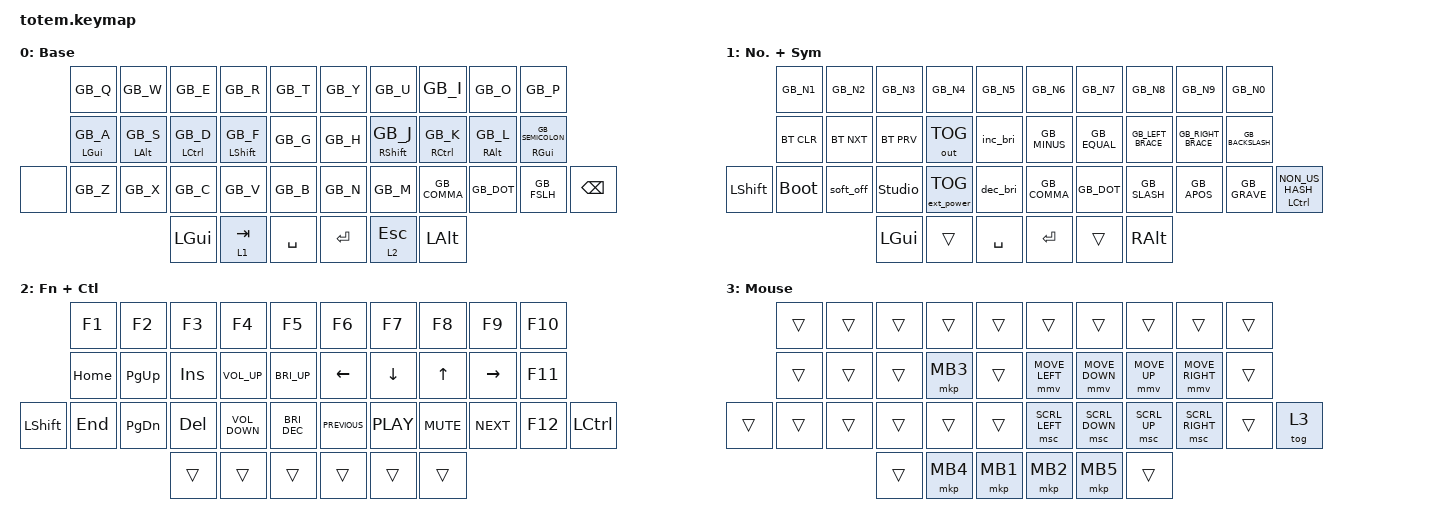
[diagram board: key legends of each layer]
//
//                                                        ▀▀▀▀▀     ▀▀▀▀▀          ▀▀█▀▀
//                                                        ▄▀▀▀▄  ▄  ▄▀▀▀▄  ▄  ▄▀▀▀▄  █  ▄▀▀▀▄
//                                                        █   █  █  █   █  █  █   █  █  █   █
//                                                         ▀▀▀   █   ▀▀▀   █   ▀▀▀   ▀   ▀▀▀
//                                                               █      ▄▄▄█▄▄▄    █   █  
//                                                               ▀      █  █  █     █▄█
//                                                             ▀▀▀▀▀    █  █  █      ▀
//                                                                      ▀  ▀  ▀
//
// ▄▄▄▄▄▄▄▄▄▄▄▄▄▄▄▄▄▄▄▄▄▄▄▄▄▄▄▄▄▄▄▄▄▄▄▄▄▄▄▄▄▄▄▄▄▄▄▄▄▄▄▄▄▄▄▄▄▄▄▄▄▄▄▄▄▄▄▄▄▄▄▄▄▄▄▄▄▄▄▄▄▄▄▄▄▄▄▄▄▄▄▄▄▄▄▄▄▄▄▄▄▄▄▄▄▄▄▄▄▄▄▄▄▄▄▄▄▄▄▄▄▄▄▄▄▄▄▄▄▄▄▄▄▄▄▄▄▄▄▄▄▄▄▄▄▄▄▄▄

#include <locale/keys_en_gb.h>
#include <locale/keys_en_gb_extended.h>
#include <behaviors/brightness.dtsi>
#include <behaviors.dtsi>
#include <dt-bindings/zmk/bt.h>
#include <dt-bindings/zmk/ext_power.h>
#include <dt-bindings/zmk/keys.h>
#include <dt-bindings/zmk/outputs.h>
#include <dt-bindings/zmk/pointing.h>

#define BASE 0
#define NAV  1
#define SYM  2
#define ADJ  3
#define TVP1 4
#define TVP2 5

&mt {
    quick-tap-ms = <100>;
    global-quick-tap;
    flavor = "tap-preferred";
    tapping-term-ms = <170>;
};

/ {
    combos {
        compatible = "zmk,combos";

        combo_esc {
            timeout-ms = <50>;
            key-positions = <0 1>;
            bindings = <&kp ESC>;
        };

        Semi {
            bindings = <&kp GB_SEMI>;
            key-positions = <28 29>;
            layers = <0>;
        };

        Caps {
            bindings = <&kp CAPS>;
            key-positions = <20 31>;
            layers = <0>;
        };

        parentheses_left {
            bindings = <&kp GB_LEFT_PARENTHESIS>;
            key-positions = <13 12>;
            layers = <0>;
        };

        parentheses_right {
            bindings = <&kp GB_RIGHT_PARENTHESIS>;
            key-positions = <16 17>;
            layers = <0>;
        };

        bracket_left {
            bindings = <&kp GB_LEFT_BRACKET>;
            key-positions = <2 3>;
            layers = <0>;
        };

        bracket_right {
            bindings = <&kp GB_RIGHT_BRACKET>;
            key-positions = <7 6>;
            layers = <0>;
        };

        Colon {
            bindings = <&kp GB_COLON>;
            key-positions = <17 18>;
            layers = <0>;
        };

        grave {
            bindings = <&kp GB_GRAVE>;
            key-positions = <12 11>;
            layers = <0>;
        };

        brace_left {
            bindings = <&kp GB_LEFT_BRACE>;
            key-positions = <24 23>;
            layers = <0>;
        };

        brace_right {
            bindings = <&kp GB_RIGHT_BRACE>;
            key-positions = <27 28>;
            layers = <0>;
        };

        less_than {
            bindings = <&kp GB_LESS_THAN>;
            key-positions = <2 1>;
            layers = <0>;
        };

        more_than {
            bindings = <&kp GB_GREATER_THAN>;
            key-positions = <8 7>;
            layers = <0>;
        };

        hyphen {
            bindings = <&kp GB_MINUS>;
            key-positions = <24 27>;
            layers = <0>;
        };

        plus {
            bindings = <&kp GB_PLUS>;
            key-positions = <3 6>;
            layers = <0>;
        };

        equal {
            bindings = <&kp GB_EQUAL>;
            key-positions = <13 16>;
            layers = <0>;
        };

        pipe {
            bindings = <&kp GB_PIPE>;
            key-positions = <23 22>;
            layers = <0>;
        };

        asterisk {
            bindings = <&kp GB_ASTERISK>;
            key-positions = <2 7>;
            layers = <0>;
        };

        dollar {
            bindings = <&kp GB_DOLLAR>;
            key-positions = <12 17>;
            layers = <0>;
        };

        excel {
            bindings = <&kp GB_EXCL>;
            key-positions = <23 28>;
            layers = <0>;
        };

        ampersand {
            bindings = <&kp GB_AMPERSAND>;
            key-positions = <14 15>;
            layers = <0>;
        };

        underscore {
            bindings = <&kp GB_UNDERSCORE>;
            key-positions = <25 26>;
            layers = <0>;
        };

        backslash {
            bindings = <&kp GB_BACKSLASH>;
            key-positions = <18 19>;
            layers = <0>;
        };

        tilde {
            bindings = <&kp LS(NON_US_HASH)>;
            key-positions = <11 10>;
            layers = <0>;
        };
    };

    keymap {
        compatible = "zmk,keymap";

        // ▄▄▄▄▄▄▄▄▄▄▄▄▄▄▄▄▄▄▄▄▄▄▄▄▄▄▄▄▄▄▄▄▄▄▄▄▄▄▄▄▄▄▄▄▄▄▄▄▄▄▄▄▄▄▄▄▄▄▄▄▄▄▄▄▄▄▄▄▄▄▄▄▄▄▄▄▄▄▄▄▄▄▄▄▄▄▄▄▄▄▄▄▄▄▄▄▄▄▄▄▄▄▄▄▄▄▄▄▄▄▄▄▄▄▄▄▄▄▄▄▄▄▄▄▄▄▄▄▄▄▄▄▄▄▄▄▄▄▄▄▄▄▄▄▄▄▄▄▄

        base_layer {
            // ┏━━━━━━━━━━━━━━━━━━━━━━━━━━━━━━━━━━━━━━━┓

            label = "Base";

            // ┗━━━━━━━━━━━━━━━━━━━━━━━━━━━━━━━━━━━━━━━┛
            //             ┏━━━━━━━━━━━┳━━━━━━━━━━━┳━━━━━━━━━━━┳━━━━━━━━━━━┳━━━━━━━━━━━┓   ┏━━━━━━━━━━━┳━━━━━━━━━━━┳━━━━━━━━━━━┳━━━━━━━━━━━┳━━━━━━━━━━━┓
            //             ┃     Q     ┃     W     ┃     F     ┃     P     ┃     G     ┃   ┃     J     ┃     L     ┃     U     ┃     Y     ┃     ;     ┃
            //             ┣━━━━━━━━━━━╋━━━━━━━━━━━╋━━━━━━━━━━━╋━━━━━━━━━━━╋━━━━━━━━━━━┫   ┣━━━━━━━━━━━╋━━━━━━━━━━━╋━━━━━━━━━━━╋━━━━━━━━━━━╋━━━━━━━━━━━┫
            //             ┃     A     ┃     R     ┃     S     ┃     T     ┃     D     ┃   ┃     H     ┃     N     ┃     E     ┃     I     ┃     O     ┃
            // ┏━━━━━━━━━━━╋━━━━━━━━━━━╋━━━━━━━━━━━╋━━━━━━━━━━━╋━━━━━━━━━━━╋━━━━━━━━━━━┫   ┣━━━━━━━━━━━╋━━━━━━━━━━━╋━━━━━━━━━━━╋━━━━━━━━━━━╋━━━━━━━━━━━╋━━━━━━━━━━━┓
            // ┃     Q     ┃     Z     ┃     X     ┃     C     ┃     V     ┃     B     ┃   ┃     K     ┃     M     ┃     ,     ┃     .     ┃     /     ┃     \     ┃
            // ┗━━━━━━━━━━━┻━━━━━━━━━━━┻━━━━━━━━━━━╋━━━━━━━━━━━╋━━━━━━━━━━━╋━━━━━━━━━━━┫   ┣━━━━━━━━━━━╋━━━━━━━━━━━╋━━━━━━━━━━━╋━━━━━━━━━━━┻━━━━━━━━━━━┻━━━━━━━━━━━┛
            //                                     ┃    DEL    ┃    TAB    ┃    SPC    ┃   ┃   ENTER   ┃           ┃   BSPC    ┃
            //                                     ┗━━━━━━━━━━━┻━━━━━━━━━━━┻━━━━━━━━━━━┛   ┗━━━━━━━━━━━┻━━━━━━━━━━━┻━━━━━━━━━━━┛

            bindings = <
       &kp GB_Q       &kp GB_W       &kp GB_E        &kp GB_R        &kp GB_T     &kp GB_Y  &kp GB_U        &kp GB_I        &kp GB_O       &kp GB_P
       &mt LGUI GB_A  &mt LALT GB_S  &mt LCTRL GB_D  &mt LSHFT GB_F  &kp GB_G     &kp GB_H  &mt RSHFT GB_J  &mt RCTRL GB_K  &mt RALT GB_L  &mt RGUI GB_SEMICOLON
&none  &kp GB_Z       &kp GB_X       &kp GB_C        &kp GB_V        &kp GB_B     &kp GB_N  &kp GB_M        &kp GB_COMMA    &kp GB_DOT     &kp GB_FSLH            &kp BACKSPACE
                                     &kp LEFT_GUI    &lt 1 TAB       &kp SPACE    &kp RET   &lt 2 ESC       &kp LEFT_ALT
            >;
        };

        // ▄▄▄▄▄▄▄▄▄▄▄▄▄▄▄▄▄▄▄▄▄▄▄▄▄▄▄▄▄▄▄▄▄▄▄▄▄▄▄▄▄▄▄▄▄▄▄▄▄▄▄▄▄▄▄▄▄▄▄▄▄▄▄▄▄▄▄▄▄▄▄▄▄▄▄▄▄▄▄▄▄▄▄▄▄▄▄▄▄▄▄▄▄▄▄▄▄▄▄▄▄▄▄▄▄▄▄▄▄▄▄▄▄▄▄▄▄▄▄▄▄▄▄▄▄▄▄▄▄▄▄▄▄▄▄▄▄▄▄▄▄▄▄▄▄▄▄▄▄

        Num_Sym {
            // ┏━━━━━━━━━━━━━━━━━━━━━━━━━━━━━━━━━━━━━━━┓

            label = "No. + Sym";

            // ┗━━━━━━━━━━━━━━━━━━━━━━━━━━━━━━━━━━━━━━━┛
            //             ┏━━━━━━━━━━━┳━━━━━━━━━━━┳━━━━━━━━━━━┳━━━━━━━━━━━┳━━━━━━━━━━━┓   ┏━━━━━━━━━━━┳━━━━━━━━━━━┳━━━━━━━━━━━┳━━━━━━━━━━━┳━━━━━━━━━━━┓
            //             ┃           ┃           ┃     UP    ┃           ┃     {     ┃   ┃     }     ┃     7     ┃     8     ┃     9     ┃     +     ┃
            //             ┣━━━━━━━━━━━╋━━━━━━━━━━━╋━━━━━━━━━━━╋━━━━━━━━━━━╋━━━━━━━━━━━┫   ┣━━━━━━━━━━━╋━━━━━━━━━━━╋━━━━━━━━━━━╋━━━━━━━━━━━╋━━━━━━━━━━━┫
            //             ┃   SHIFT   ┃   LEFT    ┃    DOWN   ┃   RIGHT   ┃     [     ┃   ┃     ]     ┃     4     ┃     5     ┃     6     ┃     -     ┃
            // ┏━━━━━━━━━━━╋━━━━━━━━━━━╋━━━━━━━━━━━╋━━━━━━━━━━━╋━━━━━━━━━━━╋━━━━━━━━━━━┫   ┣━━━━━━━━━━━╋━━━━━━━━━━━╋━━━━━━━━━━━╋━━━━━━━━━━━╋━━━━━━━━━━━╋━━━━━━━━━━━┓
            // ┃           ┃           ┃   P UP    ┃  C LOCK   ┃  P DOWN   ┃     (     ┃   ┃     )     ┃     1     ┃     2     ┃     3     ┃     *     ┃           ┃
            // ┗━━━━━━━━━━━┻━━━━━━━━━━━┻━━━━━━━━━━━╋━━━━━━━━━━━╋━━━━━━━━━━━╋━━━━━━━━━━━┫   ┣━━━━━━━━━━━╋━━━━━━━━━━━╋━━━━━━━━━━━╋━━━━━━━━━━━┻━━━━━━━━━━━┻━━━━━━━━━━━┛
            //                                     ┃           ┃    TAB    ┃    SPC    ┃   ┃    DEL    ┃     0     ┃           ┃
            //                                     ┗━━━━━━━━━━━┻━━━━━━━━━━━┻━━━━━━━━━━━┛   ┗━━━━━━━━━━━┻━━━━━━━━━━━┻━━━━━━━━━━━┛

            bindings = <
        &kp GB_N1    &kp GB_N2   &kp GB_N3       &kp GB_N4          &kp GB_N5    &kp GB_N6     &kp GB_N7     &kp GB_N8          &kp GB_N9           &kp GB_N0
        &bt BT_CLR   &bt BT_NXT &bt BT_PRV      &out OUT_TOG       &inc_bri     &kp GB_MINUS  &kp GB_EQUAL  &kp GB_LEFT_BRACE  &kp GB_RIGHT_BRACE  &kp GB_BACKSLASH
&kp LSHIFT  &bootloader  &soft_off   &studio_unlock  &ext_power EP_TOG  &dec_bri     &kp GB_COMMA  &kp GB_DOT    &kp GB_SLASH       &kp GB_APOS         &kp GB_GRAVE      &mt LCTRL NON_US_HASH
                                 &kp LGUI        &trans             &kp SPACE    &kp RET       &trans        &kp RALT
            >;
        };

        // ▄▄▄▄▄▄▄▄▄▄▄▄▄▄▄▄▄▄▄▄▄▄▄▄▄▄▄▄▄▄▄▄▄▄▄▄▄▄▄▄▄▄▄▄▄▄▄▄▄▄▄▄▄▄▄▄▄▄▄▄▄▄▄▄▄▄▄▄▄▄▄▄▄▄▄▄▄▄▄▄▄▄▄▄▄▄▄▄▄▄▄▄▄▄▄▄▄▄▄▄▄▄▄▄▄▄▄▄▄▄▄▄▄▄▄▄▄▄▄▄▄▄▄▄▄▄▄▄▄▄▄▄▄▄▄▄▄▄▄▄▄▄▄▄▄▄▄▄▄

        Fn {
            // ┏━━━━━━━━━━━━━━━━━━━━━━━━━━━━━━━━━━━━━━━┓

            label = "Fn + Ctl";

            // ┗━━━━━━━━━━━━━━━━━━━━━━━━━━━━━━━━━━━━━━━┛
            //             ┏━━━━━━━━━━━┳━━━━━━━━━━━┳━━━━━━━━━━━┳━━━━━━━━━━━┳━━━━━━━━━━━┓   ┏━━━━━━━━━━━┳━━━━━━━━━━━┳━━━━━━━━━━━┳━━━━━━━━━━━┳━━━━━━━━━━━┓
            //             ┃     !     ┃     @     ┃     #     ┃     $     ┃     %     ┃   ┃     ˆ     ┃     &     ┃     Ü     ┃     '     ┃     "     ┃
            //             ┣━━━━━━━━━━━╋━━━━━━━━━━━╋━━━━━━━━━━━╋━━━━━━━━━━━╋━━━━━━━━━━━┫   ┣━━━━━━━━━━━╋━━━━━━━━━━━╋━━━━━━━━━━━╋━━━━━━━━━━━╋━━━━━━━━━━━┫
            //             ┃     Ä     ┃           ┃    SZ     ┃           ┃           ┃   ┃   MUTE    ┃   YEN     ┃   EURO    ┃  POUND    ┃     Ö     ┃
            // ┏━━━━━━━━━━━╋━━━━━━━━━━━╋━━━━━━━━━━━╋━━━━━━━━━━━╋━━━━━━━━━━━╋━━━━━━━━━━━┫   ┣━━━━━━━━━━━╋━━━━━━━━━━━╋━━━━━━━━━━━╋━━━━━━━━━━━╋━━━━━━━━━━━╋━━━━━━━━━━━┓
            // ┃           ┃  EMAIL1   ┃  EMAIL2   ┃           ┃           ┃           ┃   ┃   VOL-    ┃   VOL+    ┃   LAST    ┃   NEXT    ┃     \     ┃           ┃
            // ┗━━━━━━━━━━━┻━━━━━━━━━━━┻━━━━━━━━━━━╋━━━━━━━━━━━╋━━━━━━━━━━━╋━━━━━━━━━━━┫   ┣━━━━━━━━━━━╋━━━━━━━━━━━╋━━━━━━━━━━━╋━━━━━━━━━━━┻━━━━━━━━━━━┻━━━━━━━━━━━┛
            //                                     ┃           ┃    GIF    ┃    ADJ    ┃   ┃           ┃           ┃           ┃
            //                                     ┗━━━━━━━━━━━┻━━━━━━━━━━━┻━━━━━━━━━━━┛   ┗━━━━━━━━━━━┻━━━━━━━━━━━┻━━━━━━━━━━━┛

            bindings = <
            &kp F1    &kp F2         &kp F3   &kp F4             &kp F5           &kp F6          &kp F7      &kp F8      &kp F9      &kp F10
            &kp HOME  &kp PAGE_UP    &kp INS  &kp C_VOLUME_UP    &kp C_BRI_UP     &kp LEFT        &kp DOWN    &kp UP      &kp RIGHT   &kp F11
&kp LSHIFT  &kp END   &kp PAGE_DOWN  &kp DEL  &kp C_VOLUME_DOWN  &kp C_BRI_DEC    &kp C_PREVIOUS  &kp C_PLAY  &kp C_MUTE  &kp C_NEXT  &kp F12  &kp LCTRL
                                     &trans   &trans             &trans           &trans          &trans      &trans
            >;
        };

        // ▄▄▄▄▄▄▄▄▄▄▄▄▄▄▄▄▄▄▄▄▄▄▄▄▄▄▄▄▄▄▄▄▄▄▄▄▄▄▄▄▄▄▄▄▄▄▄▄▄▄▄▄▄▄▄▄▄▄▄▄▄▄▄▄▄▄▄▄▄▄▄▄▄▄▄▄▄▄▄▄▄▄▄▄▄▄▄▄▄▄▄▄▄▄▄▄▄▄▄▄▄▄▄▄▄▄▄▄▄▄▄▄▄▄▄▄▄▄▄▄▄▄▄▄▄▄▄▄▄▄▄▄▄▄▄▄▄▄▄▄▄▄▄▄▄▄▄▄▄

        MouseNav {
            // ┏━━━━━━━━━━━━━━━━━━━━━━━━━━━━━━━━━━━━━━━┓

            label = "Mouse";

            // ┗━━━━━━━━━━━━━━━━━━━━━━━━━━━━━━━━━━━━━━━┛
            //             ┏━━━━━━━━━━━┳━━━━━━━━━━━┳━━━━━━━━━━━┳━━━━━━━━━━━┳━━━━━━━━━━━┓   ┏━━━━━━━━━━━┳━━━━━━━━━━━┳━━━━━━━━━━━┳━━━━━━━━━━━┳━━━━━━━━━━━┓
            //             ┃   RESET   ┃ BT CLEAR  ┃  OUT TOG  ┃           ┃           ┃   ┃           ┃    F7     ┃    F8     ┃    F9     ┃    F12    ┃
            //             ┣━━━━━━━━━━━╋━━━━━━━━━━━╋━━━━━━━━━━━╋━━━━━━━━━━━╋━━━━━━━━━━━┫   ┣━━━━━━━━━━━╋━━━━━━━━━━━╋━━━━━━━━━━━╋━━━━━━━━━━━╋━━━━━━━━━━━┫
            //             ┃ BOOTLOAD  ┃ BT NEXT   ┃           ┃           ┃           ┃   ┃           ┃    F4     ┃    F5     ┃    F6     ┃    F11    ┃
            // ┏━━━━━━━━━━━╋━━━━━━━━━━━╋━━━━━━━━━━━╋━━━━━━━━━━━╋━━━━━━━━━━━╋━━━━━━━━━━━┫   ┣━━━━━━━━━━━╋━━━━━━━━━━━╋━━━━━━━━━━━╋━━━━━━━━━━━╋━━━━━━━━━━━╋━━━━━━━━━━━┓
            // ┃           ┃           ┃ BT PREV   ┃           ┃           ┃           ┃   ┃           ┃    F1     ┃    F2     ┃    F3     ┃    F10    ┃           ┃
            // ┗━━━━━━━━━━━┻━━━━━━━━━━━┻━━━━━━━━━━━╋━━━━━━━━━━━╋━━━━━━━━━━━╋━━━━━━━━━━━┫   ┣━━━━━━━━━━━╋━━━━━━━━━━━╋━━━━━━━━━━━╋━━━━━━━━━━━┻━━━━━━━━━━━┻━━━━━━━━━━━┛
            //                                     ┃           ┃           ┃           ┃   ┃           ┃           ┃           ┃
            //                                     ┗━━━━━━━━━━━┻━━━━━━━━━━━┻━━━━━━━━━━━┛   ┗━━━━━━━━━━━┻━━━━━━━━━━━┻━━━━━━━━━━━┛

            bindings = <
        &trans  &trans  &trans  &trans    &trans      &trans          &trans          &trans        &trans           &trans
        &trans  &trans  &trans  &mkp MB3  &trans      &mmv MOVE_LEFT  &mmv MOVE_DOWN  &mmv MOVE_UP  &mmv MOVE_RIGHT  &trans
&trans  &trans  &trans  &trans  &trans    &trans      &msc SCRL_LEFT  &msc SCRL_DOWN  &msc SCRL_UP  &msc SCRL_RIGHT  &trans  &tog 3
                        &trans  &mkp MB4  &mkp MB1    &mkp MB2        &mkp MB5        &trans
            >;
        };

        // ▄▄▄▄▄▄▄▄▄▄▄▄▄▄▄▄▄▄▄▄▄▄▄▄▄▄▄▄▄▄▄▄▄▄▄▄▄▄▄▄▄▄▄▄▄▄▄▄▄▄▄▄▄▄▄▄▄▄▄▄▄▄▄▄▄▄▄▄▄▄▄▄▄▄▄▄▄▄▄▄▄▄▄▄▄▄▄▄▄▄▄▄▄▄▄▄▄▄▄▄▄▄▄▄▄▄▄▄▄▄▄▄▄▄▄▄▄▄▄▄▄▄▄▄▄▄▄▄▄▄▄▄▄▄▄▄▄▄▄▄▄▄▄▄▄▄▄▄▄
        // ▄▄▄▄▄▄▄▄▄▄▄▄▄▄▄▄▄▄▄▄▄▄▄▄▄▄▄▄▄▄▄▄▄▄▄▄▄▄▄▄▄▄▄▄▄▄▄▄▄▄▄▄▄▄▄▄▄▄▄▄▄▄▄▄▄▄▄▄▄▄▄▄▄▄▄▄▄▄▄▄▄▄▄▄▄▄▄▄▄▄▄▄▄▄▄▄▄▄▄▄▄▄▄▄▄▄▄▄▄▄▄▄▄▄▄▄▄▄▄▄▄▄▄▄▄▄▄▄▄▄▄▄▄▄▄▄▄▄▄▄▄▄▄▄▄▄▄▄▄
    };
};
